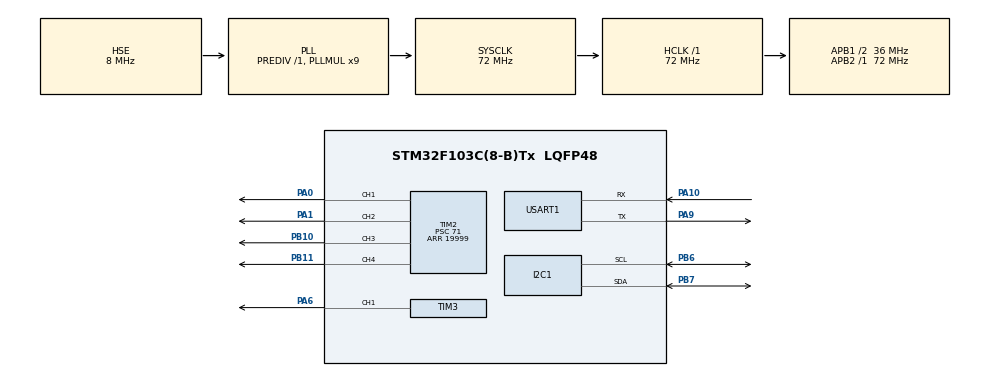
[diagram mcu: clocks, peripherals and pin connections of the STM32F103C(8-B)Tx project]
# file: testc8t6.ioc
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FREERTOS.Tasks01=defaultTask,24,128,StartDefaultTask,Default,NULL,Dynamic,NULL,NULL
Mcu.Family=STM32F1
Mcu.Name=STM32F103C(8-B)Tx
Mcu.Package=LQFP48
NVIC.PriorityGroup=NVIC_PRIORITYGROUP_4
NVIC.TIM4_IRQn=true\:0\:0\:false\:false\:true\:false\:false\:true
NVIC.TimeBase=TIM4_IRQn
NVIC.TimeBaseIP=TIM4
NVIC.USART1_IRQn=true\:5\:0\:true\:false\:true\:true\:true\:true
PA0-WKUP.Signal=S_TIM2_CH1_ETR
PA1.Signal=S_TIM2_CH2
PA10.Mode=Asynchronous
PA10.Signal=USART1_RX
PA13.Mode=Serial_Wire
PA13.Signal=SYS_JTMS-SWDIO
PA14.Mode=Serial_Wire
PA14.Signal=SYS_JTCK-SWCLK
PA6.Signal=S_TIM3_CH1
PA9.Mode=Asynchronous
PA9.Signal=USART1_TX
PB10.Signal=S_TIM2_CH3
PB11.Signal=S_TIM2_CH4
PB6.Mode=I2C
PB6.Signal=I2C1_SCL
PB7.Mode=I2C
PB7.Signal=I2C1_SDA
PC14-OSC32_IN.Mode=LSE-External-Oscillator
PC14-OSC32_IN.Signal=RCC_OSC32_IN
PC15-OSC32_OUT.Mode=LSE-External-Oscillator
PC15-OSC32_OUT.Signal=RCC_OSC32_OUT
PD0-OSC_IN.Mode=HSE-External-Oscillator
PD0-OSC_IN.Signal=RCC_OSC_IN
PD1-OSC_OUT.Mode=HSE-External-Oscillator
PD1-OSC_OUT.Signal=RCC_OSC_OUT
ProjectManager.HeapSize=0x200
ProjectManager.StackSize=0x400
ProjectManager.TargetToolchain=MDK-ARM V5
RCC.AHBFreq_Value=72000000
RCC.APB1CLKDivider=RCC_HCLK_DIV2
RCC.APB1Freq_Value=36000000
RCC.APB1TimFreq_Value=72000000
RCC.APB2Freq_Value=72000000
RCC.APB2TimFreq_Value=72000000
RCC.HCLKFreq_Value=72000000
RCC.PLLMUL=RCC_PLL_MUL9
RCC.PLLSourceVirtual=RCC_PLLSOURCE_HSE
RCC.SYSCLKFreq_VALUE=72000000
RCC.SYSCLKSource=RCC_SYSCLKSOURCE_PLLCLK
RCC.USBFreq_Value=72000000
SH.S_TIM2_CH1_ETR.0=TIM2_CH1,PWM Generation1 CH1
SH.S_TIM2_CH2.0=TIM2_CH2,PWM Generation2 CH2
SH.S_TIM2_CH3.0=TIM2_CH3,PWM Generation3 CH3
SH.S_TIM2_CH4.0=TIM2_CH4,PWM Generation4 CH4
SH.S_TIM3_CH1.0=TIM3_CH1,PWM Generation1 CH1
TIM2.AutoReloadPreload=TIM_AUTORELOAD_PRELOAD_ENABLE
TIM2.Channel-PWM\ Generation1\ CH1=TIM_CHANNEL_1
TIM2.Channel-PWM\ Generation2\ CH2=TIM_CHANNEL_2
TIM2.Channel-PWM\ Generation3\ CH3=TIM_CHANNEL_3
TIM2.Channel-PWM\ Generation4\ CH4=TIM_CHANNEL_4
TIM2.OCPolarity_1=TIM_OCPOLARITY_HIGH
TIM2.Period=19999
TIM2.Prescaler=71
TIM3.Channel-PWM\ Generation1\ CH1=TIM_CHANNEL_1
TIM3.OCPolarity_1=TIM_OCPOLARITY_LOW
TIM3.Period=499
TIM3.Prescaler=71
USART1.VirtualMode=VM_ASYNC
VP_FREERTOS_VS_CMSIS_V2.Mode=CMSIS_V2
VP_SYS_VS_tim4.Mode=TIM4
VP_TIM2_VS_ClockSourceINT.Mode=Internal
board=custom

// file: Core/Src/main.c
/* USER CODE BEGIN Header */
/**
  ******************************************************************************
  * @file           : main.c
  * @brief          : Main program body
  ******************************************************************************
  * @attention
  *
  * <h2><center>&copy; Copyright (c) 2024 STMicroelectronics.
  * All rights reserved.</center></h2>
  *
  * This software component is licensed by ST under BSD 3-Clause license,
  * the "License"; You may not use this file except in compliance with the
  * License. You may obtain a copy of the License at:
  *                        opensource.org/licenses/BSD-3-Clause
  *
  ******************************************************************************
  */
/* USER CODE END Header */
#include "main.h"
#include "cmsis_os.h"
#include "i2c.h"
#include "tim.h"
#include "usart.h"
#include "gpio.h"

/* USER CODE BEGIN Includes */
#include "pwm.h"
#include "OLED.h"
#include <string.h>
#include "semphr.h"

/* USER CODE END Includes */

/* USER CODE BEGIN PV */

extern unsigned char BMP1[];
extern unsigned char BMP2[];
extern unsigned char BMP3[];
char RxBuffer[RXBUFFERSIZE];   //接收数据
uint8_t aRxBuffer;			//接收中断缓冲
uint8_t Uart1_Rx_Cnt = 0;		//接收缓冲计数
uint8_t g_instruction;

extern SemaphoreHandle_t g_xConSemaphore;

/* USER CODE END PV */

void SystemClock_Config(void);
void MX_FREERTOS_Init(void);

int main(void)
{

  /* MCU Configuration--------------------------------------------------------*/

  /* Reset of all peripherals, Initializes the Flash interface and the Systick. */
  HAL_Init();

  /* Configure the system clock */
  SystemClock_Config();

  /* Initialize all configured peripherals */
  MX_GPIO_Init();
  MX_TIM2_Init();
  MX_USART1_UART_Init();
  MX_TIM3_Init();
  MX_I2C1_Init();
  /* USER CODE BEGIN 2 */
  OLED_Init();
  HAL_Delay(2000);

  OLED_Fill(0xFF);
  HAL_Delay(2000);

  OLED_Fill(0x00);
  HAL_Delay(2000);
	HAL_TIM_PWM_Start(&htim2, TIM_CHANNEL_1);
	HAL_TIM_PWM_Start(&htim2, TIM_CHANNEL_2);
	HAL_TIM_PWM_Start(&htim2, TIM_CHANNEL_3);
	HAL_TIM_PWM_Start(&htim2, TIM_CHANNEL_4);
  OLED_ShowBMP(0,0,128,8,(unsigned char *)BMP2);
  HAL_UART_Transmit(&huart1, (uint8_t *)"ZZX", 3, 0xffff);
  HAL_UART_Receive_IT(&huart1, (uint8_t *)RxBuffer,1);
  /* USER CODE END 2 */

  /* Init scheduler */
  osKernelInitialize();  /* Call init function for freertos objects (in freertos.c) */
  MX_FREERTOS_Init();
  /* Start scheduler */
  osKernelStart();

  /* We should never get here as control is now taken by the scheduler */
  /* Infinite loop */
  while (1)
  {

  }
}

void SystemClock_Config(void)
{
  RCC_OscInitTypeDef RCC_OscInitStruct = {0};
  RCC_ClkInitTypeDef RCC_ClkInitStruct = {0};

  /** Initializes the RCC Oscillators according to the specified parameters
  * in the RCC_OscInitTypeDef structure.
  */
  RCC_OscInitStruct.OscillatorType = RCC_OSCILLATORTYPE_HSE;
  RCC_OscInitStruct.HSEState = RCC_HSE_ON;
  RCC_OscInitStruct.HSEPredivValue = RCC_HSE_PREDIV_DIV1;
  RCC_OscInitStruct.HSIState = RCC_HSI_ON;
  RCC_OscInitStruct.PLL.PLLState = RCC_PLL_ON;
  RCC_OscInitStruct.PLL.PLLSource = RCC_PLLSOURCE_HSE;
  RCC_OscInitStruct.PLL.PLLMUL = RCC_PLL_MUL9;
  if (HAL_RCC_OscConfig(&RCC_OscInitStruct) != HAL_OK)
  {
    Error_Handler();
  }
  /** Initializes the CPU, AHB and APB buses clocks
  */
  RCC_ClkInitStruct.ClockType = RCC_CLOCKTYPE_HCLK|RCC_CLOCKTYPE_SYSCLK
                              |RCC_CLOCKTYPE_PCLK1|RCC_CLOCKTYPE_PCLK2;
  RCC_ClkInitStruct.SYSCLKSource = RCC_SYSCLKSOURCE_PLLCLK;
  RCC_ClkInitStruct.AHBCLKDivider = RCC_SYSCLK_DIV1;
  RCC_ClkInitStruct.APB1CLKDivider = RCC_HCLK_DIV2;
  RCC_ClkInitStruct.APB2CLKDivider = RCC_HCLK_DIV1;

  if (HAL_RCC_ClockConfig(&RCC_ClkInitStruct, FLASH_LATENCY_2) != HAL_OK)
  {
    Error_Handler();
  }
}

/* USER CODE BEGIN 4 */

void HAL_UART_RxCpltCallback(UART_HandleTypeDef *huart)
{
  /* Prevent unused argument(s) compilation warning */
  UNUSED(huart);
  /* NOTE: This function Should not be modified, when the callback is needed,
           the HAL_UART_TxCpltCallback could be implemented in the user file
   */
 /*获取信号量*/
	BaseType_t xHigherPriorityTaskWoken = pdFALSE;
  xSemaphoreTakeFromISR(g_xConSemaphore,&xHigherPriorityTaskWoken);
	if(Uart1_Rx_Cnt >= 255)  //溢出判断
	{
		Uart1_Rx_Cnt = 0;
		memset(RxBuffer,0x00,sizeof(RxBuffer));
		HAL_UART_Transmit(&huart1, (uint8_t *)"数据溢出", 10,0xFFFF);
    /*释放信号量*/
	}
	else
	{
		RxBuffer[Uart1_Rx_Cnt++] = aRxBuffer;   //接收数据转存

		if((RxBuffer[Uart1_Rx_Cnt-1] == 0x0A)&&(RxBuffer[Uart1_Rx_Cnt-2] == 0x0D)) //判断结束位
		{
			HAL_UART_Transmit(&huart1, (uint8_t *)&RxBuffer, Uart1_Rx_Cnt,0xFFFF); //将收到的信息发送出去
            while(HAL_UART_GetState(&huart1) == HAL_UART_STATE_BUSY_TX);//检测UART发送结束
            g_instruction = RxBuffer[1];
			Uart1_Rx_Cnt = 0;
			memset(RxBuffer,0x00,sizeof(RxBuffer)); //清空数组
      /*释放信号量*/
      xSemaphoreGiveFromISR(g_xConSemaphore,&xHigherPriorityTaskWoken);
		}
	}

	HAL_UART_Receive_IT(&huart1, (uint8_t *)&aRxBuffer, 1);   //再开启接收中断
}
/* USER CODE END 4 */

 /**
  * @brief  Period elapsed callback in non blocking mode
  * @note   This function is called  when TIM4 interrupt took place, inside
  * HAL_TIM_IRQHandler(). It makes a direct call to HAL_IncTick() to increment
  * a global variable "uwTick" used as application time base.
  * @param  htim : TIM handle
  * @retval None
  */
void HAL_TIM_PeriodElapsedCallback(TIM_HandleTypeDef *htim)
{
  if (htim->Instance == TIM4) {
    HAL_IncTick();
  }
}

void Error_Handler(void)
{
  __disable_irq();
  while (1)
  {
  }
}

/************************ (C) COPYRIGHT STMicroelectronics *****END OF FILE****/

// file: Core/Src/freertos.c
/* USER CODE BEGIN Header */
/**
  ******************************************************************************
  * File Name          : freertos.c
  * Description        : Code for freertos applications
  ******************************************************************************
  * @attention
  *
  * <h2><center>&copy; Copyright (c) 2024 STMicroelectronics.
  * All rights reserved.</center></h2>
  *
  * This software component is licensed by ST under Ultimate Liberty license
  * SLA0044, the "License"; You may not use this file except in compliance with
  * the License. You may obtain a copy of the License at:
  *                             www.st.com/SLA0044
  *
  ******************************************************************************
  */
/* USER CODE END Header */

#include "FreeRTOS.h"
#include "task.h"
#include "main.h"
#include "cmsis_os.h"

/* USER CODE BEGIN Includes */
#include "tim.h"
#include "pwm.h"
#include "OLED.h"
#include "semphr.h"
/* USER CODE END Includes */

/* USER CODE BEGIN Variables */
BaseType_t gOledtaskHandle; //oled_task
BaseType_t gPwmtaskHandle;  //move_task

SemaphoreHandle_t g_xConSemaphore;//control semaphore
/* USER CODE END Variables */
/* Definitions for defaultTask */
osThreadId_t defaultTaskHandle;
const osThreadAttr_t defaultTask_attributes = {
  .name = "defaultTask",
  .priority = (osPriority_t) osPriorityNormal,
  .stack_size = 128 * 4
};

void StartDefaultTask(void *argument);

void MX_FREERTOS_Init(void); /* (MISRA C 2004 rule 8.1) */

void MX_FREERTOS_Init(void) {
  /* USER CODE BEGIN Init */
  TaskHandle_t xOled_contral;
  TaskHandle_t xPwm_contral;
  /* USER CODE END Init */

  /* USER CODE BEGIN RTOS_SEMAPHORES */
  /* add semaphores, ... */
  g_xConSemaphore = xSemaphoreCreateCounting(1,1);                       //creat semaphore

  /* USER CODE END RTOS_SEMAPHORES */

  /* Create the thread(s) */
  /* creation of defaultTask */
  defaultTaskHandle = osThreadNew(StartDefaultTask, NULL, &defaultTask_attributes);

  /* USER CODE BEGIN RTOS_THREADS */
  /* add threads, ... */
  /* ������ʾ����, oled */
  gOledtaskHandle = xTaskCreate(oled_contral,"oled_contral",128,NULL,osPriorityAboveNormal,&xOled_contral);
  /* �����˶�����, oled */
  gPwmtaskHandle = xTaskCreate(pwm_contral,"pwm_contral",128,NULL,osPriorityAboveNormal,&xPwm_contral);
  /* USER CODE END RTOS_THREADS */

}

void StartDefaultTask(void *argument)
{
  /* USER CODE BEGIN StartDefaultTask */
  /* Infinite loop */
  for(;;)
  {
   	__HAL_TIM_SetCompare(&htim2, TIM_CHANNEL_1,angle(90));
    osDelay(1000);
   	__HAL_TIM_SetCompare(&htim2, TIM_CHANNEL_1,angle(135));
    osDelay(1000);
   	__HAL_TIM_SetCompare(&htim2, TIM_CHANNEL_1,angle(90));
    osDelay(1000);
    	__HAL_TIM_SetCompare(&htim2, TIM_CHANNEL_1,angle(45));
    osDelay(1000);
  }
  /* USER CODE END StartDefaultTask */
}

/************************ (C) COPYRIGHT STMicroelectronics *****END OF FILE****/
